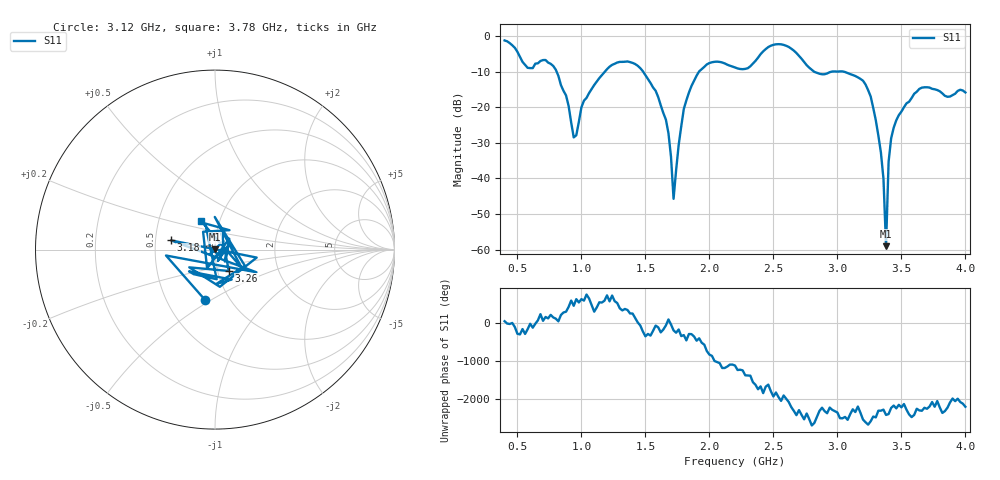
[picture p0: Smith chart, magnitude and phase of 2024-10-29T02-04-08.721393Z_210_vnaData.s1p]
!Created with skrf (http://scikit-rf.org).
# Hz S RI R 50.0
!freq ReS11 ImS11
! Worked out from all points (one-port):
!   181 points, 400 MHz to 4 GHz, reference 50 ohm
!   lowest |S11| = -59.0 dB at 3.38 GHz (marker M1), VSWR 1.00, Z = 50 + j0.105 ohm
!   |S11| at or under -10 dB: 806.5 MHz to 1.184 GHz (377.4 MHz wide, 37.9 % of centre); 1.482 GHz to 1.918 GHz (435.9 MHz wide, 25.6 % of centre); 3.049 GHz to end of sweep (the widest 3 of 4)
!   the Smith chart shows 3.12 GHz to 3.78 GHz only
!   S11 on the Smith chart (normalised r, x): 3.12 GHz: 0.77, -0.47; 3.18 GHz: 0.60, +0.07; 3.26 GHz: 1.13, -0.28; 3.78 GHz: 0.82, +0.27
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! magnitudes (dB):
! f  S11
! 400 MHz  -1.2
! 580 MHz  -8.9
! 780 MHz  -8.4
! 860 MHz  -15.4
! 940 MHz  -28.5
! 1.02 GHz  -18.1
! 1.3 GHz  -7.2
! 1.6 GHz  -17.1
! 1.68 GHz  -27.3
! 1.72 GHz  -45.7
! 1.76 GHz  -30.6
! 1.8 GHz  -20.5
! 1.92 GHz  -9.9
! 2.2 GHz  -8.8
! 2.66 GHz  -4.1
! 2.82 GHz  -10.1
! 3.1 GHz  -10.7
! 3.12 GHz  -10.9
! 3.18 GHz  -12.0
! 3.26 GHz  -17.0
! 3.34 GHz  -32.7
! 3.36 GHz  -40.1
! 3.38 GHz  -59.0
! 3.4 GHz  -35.3
! 3.42 GHz  -28.7
! 3.56 GHz  -18.4
! 3.78 GHz  -15.2
! 4 GHz  -15.8
